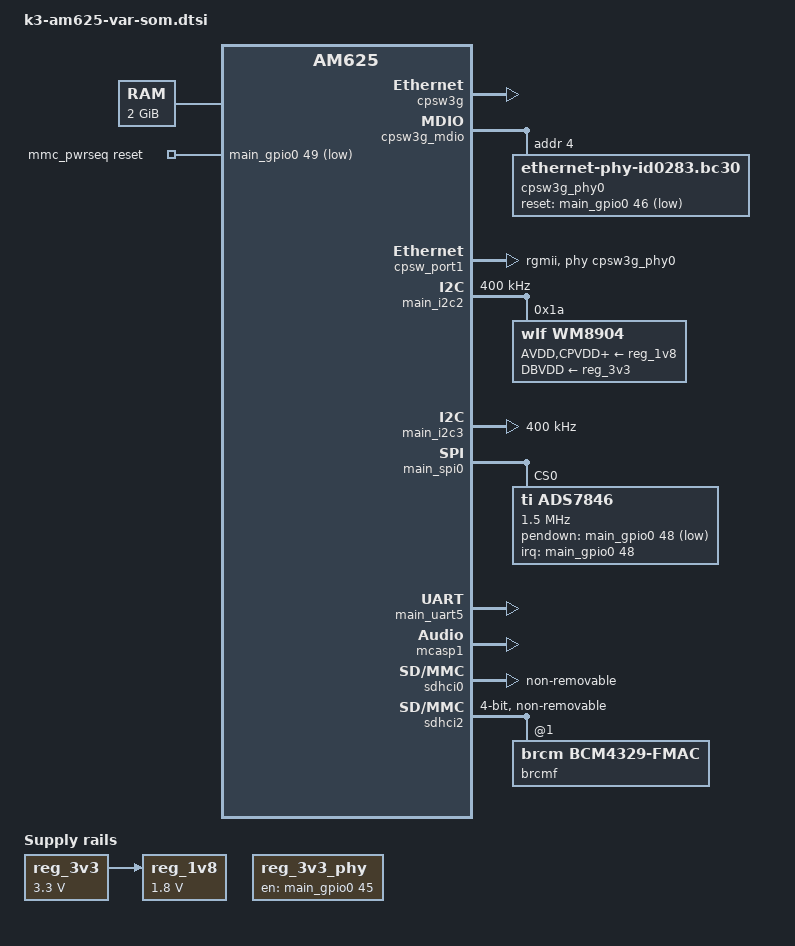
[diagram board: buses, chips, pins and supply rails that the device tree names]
// SPDX-License-Identifier: GPL-2.0
/*
 * Common dtsi for Variscite VAR-SOM-AM62
 *
 * Link: https://variscite.com/system-on-module-som/ti-sitara-am62x/var-som-am62/
 *
 * Copyright (C) 2026 Variscite Ltd. - https://www.variscite.com/
 * Copyright (C) 2026 Stefano Radaelli <stefano.r@variscite.com>
 *
 */

/dts-v1/;

#include <dt-bindings/gpio/gpio.h>
#include <dt-bindings/input/input.h>
#include <dt-bindings/interrupt-controller/arm-gic.h>
#include <dt-bindings/leds/common.h>
#include <dt-bindings/pwm/pwm.h>
#include "k3-am625.dtsi"

/ {
	compatible = "variscite,var-som-am62", "ti,am625";

	memory@80000000 {
		/* 2G RAM */
		reg = <0x00000000 0x80000000 0x00000000 0x80000000>;
		device_type = "memory";
		bootph-pre-ram;
	};

	mmc_pwrseq: mmc-pwrseq {
		compatible = "mmc-pwrseq-emmc";
		pinctrl-names = "default";
		pinctrl-0 = <&pinctrl_mmc_pwrseq>;
		reset-gpios = <&main_gpio0 49 GPIO_ACTIVE_LOW>;
	};

	opp-table {
		/* Add 1.4GHz OPP. Requires VDD_CORE to be at 0.85V */
		opp-1400000000 {
			opp-hz = /bits/ 64 <1400000000>;
			opp-supported-hw = <0x01 0x0004>;
			clock-latency-ns = <6000000>;
		};
	};

	reserved_memory: reserved-memory {
		#address-cells = <2>;
		#size-cells = <2>;
		ranges;

		ramoops@9ca00000 {
			compatible = "ramoops";
			reg = <0x00 0x9ca00000 0x00 0x00100000>;
			record-size = <0x8000>;
			console-size = <0x8000>;
			ftrace-size = <0x00>;
			pmsg-size = <0x8000>;
		};

		/* global cma region */
		linux,cma {
			compatible = "shared-dma-pool";
			reusable;
			size = <0x00 0x8000000>;
			linux,cma-default;
		};

		rtos_ipc_memory_region: rtos-ipc-memory@9b500000 {
			compatible = "shared-dma-pool";
			reg = <0x00 0x9b500000 0x00 0x00300000>;
			no-map;
		};

		wkup_r5fss0_core0_dma_memory_region: memory@9da00000 {
			compatible = "shared-dma-pool";
			reg = <0x00 0x9da00000 0x00 0x100000>;
			no-map;
		};

		wkup_r5fss0_core0_memory_region: memory@9db00000 {
			compatible = "shared-dma-pool";
			reg = <0x00 0x9db00000 0x00 0xc00000>;
			no-map;
		};

		secure_tfa_ddr: tfa@9e780000 {
			reg = <0x00 0x9e780000 0x00 0x80000>;
			alignment = <0x1000>;
			no-map;
		};

		secure_ddr: optee@9e800000 {
			reg = <0x00 0x9e800000 0x00 0x01800000>; /* for OP-TEE */
			alignment = <0x1000>;
			no-map;
		};
	};

	reg_1v8: regulator-1v8 {
		compatible = "regulator-fixed";
		regulator-name = "On-module +V1.8";
		regulator-min-microvolt = <1800000>;
		regulator-max-microvolt = <1800000>;
		vin-supply = <&reg_3v3>;
		regulator-always-on;
		regulator-boot-on;
	};

	reg_3v3: regulator-3v3 {
		compatible = "regulator-fixed";
		regulator-name = "On-module +V3.3";
		regulator-min-microvolt = <3300000>;
		regulator-max-microvolt = <3300000>;
		regulator-always-on;
		regulator-boot-on;
	};

	reg_3v3_phy: regulator-3v3-phy {
		compatible = "regulator-fixed";
		regulator-name = "On-module +V3.3_PHY";
		pinctrl-names = "default";
		pinctrl-0 = <&pinctrl_eth_phy>;
		gpios = <&main_gpio0 45 GPIO_ACTIVE_HIGH>;
		enable-active-high;
		regulator-always-on;
	};

	sound {
		compatible = "simple-audio-card";
		simple-audio-card,bitclock-master = <&codec_dai>;
		simple-audio-card,format = "dsp_b";
		simple-audio-card,frame-master = <&codec_dai>;
		simple-audio-card,name = "wm8904-audio";
		simple-audio-card,mclk-fs = <256>;
		simple-audio-card,routing =
			"Headphone Jack", "HPOUTL",
			"Headphone Jack", "HPOUTR",
			"IN2L", "Line In Jack",
			"IN2R", "Line In Jack",
			"IN1L", "Microphone Jack",
			"IN1R", "Microphone Jack";
		simple-audio-card,widgets =
			"Microphone", "Microphone Jack",
			"Headphone", "Headphone Jack",
			"Line", "Line In Jack";

		codec_dai: simple-audio-card,codec {
			sound-dai = <&wm8904>;
		};

		simple-audio-card,cpu {
			sound-dai = <&mcasp1>;
		};
	};
};

&audio_refclk1 {
	assigned-clock-rates = <12000000>;
};

&cpsw3g {
	pinctrl-names = "default";
	pinctrl-0 = <&pinctrl_rgmii1>;
	status = "okay";
};

&cpsw3g_mdio {
	pinctrl-names = "default";
	pinctrl-0 = <&pinctrl_mdio1>;
	status = "okay";

	cpsw3g_phy0: ethernet-phy@4 {
		compatible = "ethernet-phy-id0283.bc30";
		reg = <4>;
		bootph-all;
		reset-gpios = <&main_gpio0 46 GPIO_ACTIVE_LOW>;
		reset-assert-us = <10000>;
		reset-deassert-us = <20000>;
	};
};

&cpsw_port1 {
	/*
	 * The required RGMII TX and RX 2ns delays are implemented directly
	 * in hardware via passive delay elements on the SOM PCB.
	 * No delay configuration is needed in software via PHY driver.
	 */
	phy-mode = "rgmii";
	phy-handle = <&cpsw3g_phy0>;
	status = "okay";
};

&main_i2c2 {
	pinctrl-names = "default";
	pinctrl-0 = <&pinctrl_i2c2>;
	clock-frequency = <400000>;
	status = "okay";

	wm8904: audio-codec@1a {
		compatible = "wlf,wm8904";
		reg = <0x1a>;
		#sound-dai-cells = <0>;
		clocks = <&audio_refclk1>;
		clock-names = "mclk";
		AVDD-supply = <&reg_1v8>;
		CPVDD-supply = <&reg_1v8>;
		DBVDD-supply = <&reg_3v3>;
		DCVDD-supply = <&reg_1v8>;
		MICVDD-supply = <&reg_1v8>;
		wlf,drc-cfg-names = "default", "peaklimiter", "tradition",
				    "soft", "music";
		/*
		 * Config registers per name, respectively:
		 * KNEE_IP = 0,   KNEE_OP = 0,     HI_COMP = 1,   LO_COMP = 1
		 * KNEE_IP = -24, KNEE_OP = -6,    HI_COMP = 1/4, LO_COMP = 1
		 * KNEE_IP = -42, KNEE_OP = -3,    HI_COMP = 0,   LO_COMP = 1
		 * KNEE_IP = -45, KNEE_OP = -9,    HI_COMP = 1/8, LO_COMP = 1
		 * KNEE_IP = -30, KNEE_OP = -10.5, HI_COMP = 1/4, LO_COMP = 1
		 */
		wlf,drc-cfg-regs = /bits/ 16 <0x01af 0x3248 0x0000 0x0000>,
				   /bits/ 16 <0x04af 0x324b 0x0010 0x0408>,
				   /bits/ 16 <0x04af 0x324b 0x0028 0x0704>,
				   /bits/ 16 <0x04af 0x324b 0x0018 0x078c>,
				   /bits/ 16 <0x04af 0x324b 0x0010 0x050e>;
		/* GPIO1 = DMIC_CLK, don't touch others */
		wlf,gpio-cfg = <0x0018>, <0xffff>, <0xffff>, <0xffff>;
	};
};

&main_i2c3 {
	pinctrl-names = "default";
	pinctrl-0 = <&pinctrl_i2c3>;
	clock-frequency = <400000>;
	status = "okay";
};

&main_pmx0 {
	pinctrl_i2c2: main-i2c2-default-pins {
		pinctrl-single,pins = <
			AM62X_IOPAD(0x0b0, PIN_INPUT_PULLUP, 1) /* (K22) GPMC0_CSn2.I2C2_SCL */
			AM62X_IOPAD(0x0b4, PIN_INPUT_PULLUP, 1) /* (K24) GPMC0_CSn3.I2C2_SDA */
		>;
	};

	pinctrl_i2c3: main-i2c3-default-pins {
		pinctrl-single,pins = <
			AM62X_IOPAD(0x01d0, PIN_INPUT, 2) /* (A15) UART0_CTSn.I2C3_SCL */
			AM62X_IOPAD(0x01d4, PIN_INPUT, 2) /* (B15) UART0_RTSn.I2C3_SDA */
		>;
	};

	pinctrl_mcasp1: main-mcasp1-default-pins {
		pinctrl-single,pins = <
			AM62X_IOPAD(0x0090, PIN_INPUT, 2) /* (M24) GPMC0_BE0N_CLE.MCASP1_ACLKX */
			AM62X_IOPAD(0x0098, PIN_INPUT, 2) /* (U23) GPMC0_WAIT0.MCASP1_AFSX */
			AM62X_IOPAD(0x008c, PIN_OUTPUT, 2) /* (L25) GPMC0_WEN.MCASP1_AXR0 */
			AM62X_IOPAD(0x0084, PIN_INPUT, 2) /* (L23) GPMC0_ADVN_ALE.MCASP1_AXR2 */
			AM62X_IOPAD(0x00a0, PIN_OUTPUT, 1) /* (K25) GPMC0_WPn.AUDIO_EXT_REFCLK1 */
		>;
	};

	pinctrl_mdio1: main-mdio1-default-pins {
		pinctrl-single,pins = <
			AM62X_IOPAD(0x160, PIN_INPUT, 0) /* (AD24) MDIO0_MDC */
			AM62X_IOPAD(0x15c, PIN_INPUT, 0) /* (AB22) MDIO0_MDIO */
		>;
	};

	pinctrl_mmc_pwrseq: pinmux-mmc-pwrseq-pins {
		pinctrl-single,pins = <
			AM62X_IOPAD(0x00c8, PIN_OUTPUT, 7) /* (Y25) VOUT0_DATA4.GPIO0_49 */
		>;
	};

	pinctrl_mmc0: main-mmc0-default-pins {
		bootph-all;
		pinctrl-single,pins = <
			AM62X_IOPAD(0x220, PIN_INPUT, 0) /* (Y3) MMC0_CMD */
			AM62X_IOPAD(0x218, PIN_INPUT, 0) /* (AB1) MMC0_CLK */
			AM62X_IOPAD(0x214, PIN_INPUT, 0) /* (AA2) MMC0_DAT0 */
			AM62X_IOPAD(0x210, PIN_INPUT, 0) /* (AA1) MMC0_DAT1 */
			AM62X_IOPAD(0x20c, PIN_INPUT, 0) /* (AA3) MMC0_DAT2 */
			AM62X_IOPAD(0x208, PIN_INPUT, 0) /* (Y4) MMC0_DAT3 */
			AM62X_IOPAD(0x204, PIN_INPUT, 0) /* (AB2) MMC0_DAT4 */
			AM62X_IOPAD(0x200, PIN_INPUT, 0) /* (AC1) MMC0_DAT5 */
			AM62X_IOPAD(0x1fc, PIN_INPUT, 0) /* (AD2) MMC0_DAT6 */
			AM62X_IOPAD(0x1f8, PIN_INPUT, 0) /* (AC2) MMC0_DAT7 */
		>;
	};

	pinctrl_mmc2: main-mmc2-default-pins {
		pinctrl-single,pins = <
			AM62X_IOPAD(0x120, PIN_INPUT_PULLUP, 0) /* (C24) MMC2_CMD */
			AM62X_IOPAD(0x118, PIN_INPUT_PULLDOWN, 0) /* (D25) MMC2_CLK */
			AM62X_IOPAD(0x114, PIN_INPUT_PULLUP, 0) /* (B24) MMC2_DAT0 */
			AM62X_IOPAD(0x110, PIN_INPUT_PULLUP, 0) /* (C25) MMC2_DAT1 */
			AM62X_IOPAD(0x10c, PIN_INPUT_PULLUP, 0) /* (E23) MMC2_DAT2 */
			AM62X_IOPAD(0x108, PIN_INPUT_PULLUP, 0) /* (D24) MMC2_DAT3 */
			AM62X_IOPAD(0x11c, PIN_INPUT_PULLUP, 0) /* (#N/A) MMC2_CLKB */
		>;
	};

	pinctrl_restouch: main-restouch-pins {
		pinctrl-single,pins = <
			AM62X_IOPAD(0x00c4, PIN_INPUT_PULLUP, 7) /* (W24) VOUT0_DATA3.GPIO0_48 */
		>;
	};

	pinctrl_rgmii1: main-rgmii1-default-pins {
		bootph-all;
		pinctrl-single,pins = <
			AM62X_IOPAD(0x14c, PIN_INPUT, 0) /* (AB17) RGMII1_RD0 */
			AM62X_IOPAD(0x150, PIN_INPUT, 0) /* (AC17) RGMII1_RD1 */
			AM62X_IOPAD(0x154, PIN_INPUT, 0) /* (AB16) RGMII1_RD2 */
			AM62X_IOPAD(0x158, PIN_INPUT, 0) /* (AA15) RGMII1_RD3 */
			AM62X_IOPAD(0x148, PIN_INPUT, 0) /* (AD17) RGMII1_RXC */
			AM62X_IOPAD(0x144, PIN_INPUT, 0) /* (AE17) RGMII1_RX_CTL */
			AM62X_IOPAD(0x134, PIN_INPUT, 0) /* (AE20) RGMII1_TD0 */
			AM62X_IOPAD(0x138, PIN_INPUT, 0) /* (AD20) RGMII1_TD1 */
			AM62X_IOPAD(0x13c, PIN_INPUT, 0) /* (AE18) RGMII1_TD2 */
			AM62X_IOPAD(0x140, PIN_INPUT, 0) /* (AD18) RGMII1_TD3 */
			AM62X_IOPAD(0x130, PIN_INPUT, 0) /* (AE19) RGMII1_TXC */
			AM62X_IOPAD(0x12c, PIN_INPUT, 0) /* (AD19) RGMII1_TX_CTL */
			AM62X_IOPAD(0x00bc, PIN_INPUT, 7) /* (V24) VOUT0_DATA1.GPIO0_46 */
		>;
	};

	pinctrl_eth_phy: main-eth-phy-default-pins {
		pinctrl-single,pins = <
			AM62X_IOPAD(0x00b8, PIN_INPUT, 7) /* (U22) VOUT0_DATA0.GPIO0_45 */
		>;
	};

	pinctrl_spi0: main-spi0-default-pins {
		pinctrl-single,pins = <
			AM62X_IOPAD(0x01bc, PIN_OUTPUT, 0) /* (A14) SPI0_CLK */
			AM62X_IOPAD(0x01b4, PIN_OUTPUT, 0) /* (A13) SPI0_CS0 */
			AM62X_IOPAD(0x01c0, PIN_OUTPUT, 0) /* (B13) SPI0_D0 */
			AM62X_IOPAD(0x01c4, PIN_INPUT, 0) /* (B14) SPI0_D1 */
		>;
	};

	pinctrl_uart5: main-uart5-default-pins {
		pinctrl-single,pins = <
			AM62X_IOPAD(0x00ec, PIN_INPUT, 4) /* (AA24) VOUT0_DATA13.UART5_CTSn */
			AM62X_IOPAD(0x00e8, PIN_OUTPUT, 4) /* (AB25) VOUT0_DATA12.UART5_RTSn */
			AM62X_IOPAD(0x00d0, PIN_INPUT, 4) /* (Y23) VOUT0_DATA6.UART5_RXD */
			AM62X_IOPAD(0x00d4, PIN_OUTPUT, 4) /* (AA25) VOUT0_DATA7.UART5_TXD */
		>;
	};
};

&mcu_pmx0 {
	pinctrl_wkup_clkout0: wkup-clkout0-default-pins {
		pinctrl-single,pins = <
			AM62X_MCU_IOPAD(0x0084, PIN_OUTPUT, 0) /* (F13) WKUP_CLKOUT0 */
		>;
	};
};

&main_spi0 {
	pinctrl-names = "default";
	pinctrl-0 = <&pinctrl_spi0>;
	ti,pindir-d0-out-d1-in;
	status = "okay";

	/* Resistive touch controller */
	ads7846: touchscreen@0 {
		compatible = "ti,ads7846";
		reg = <0>;
		pinctrl-names = "default";
		pinctrl-0 = <&pinctrl_restouch>;
		interrupt-parent = <&main_gpio0>;
		interrupts = <48 IRQ_TYPE_EDGE_FALLING>;
		spi-max-frequency = <1500000>;
		pendown-gpio = <&main_gpio0 48 GPIO_ACTIVE_LOW>;
		ti,x-min = /bits/ 16 <125>;
		ti,x-max = /bits/ 16 <4008>;
		ti,y-min = /bits/ 16 <282>;
		ti,y-max = /bits/ 16 <3864>;
		ti,x-plate-ohms = /bits/ 16 <180>;
		ti,pressure-max = /bits/ 16 <255>;
		ti,debounce-max = /bits/ 16 <10>;
		ti,debounce-tol = /bits/ 16 <3>;
		ti,debounce-rep = /bits/ 16 <1>;
		ti,settle-delay-usec = /bits/ 16 <150>;
		ti,keep-vref-on;
		wakeup-source;
	};
};

/* On-module Bluetooth */
&main_uart5 {
	pinctrl-names = "default";
	pinctrl-0 = <&pinctrl_uart5>;
	uart-has-rtscts;
	status = "okay";
};

&mcasp1 {
	pinctrl-names = "default";
	pinctrl-0 = <&pinctrl_mcasp1>;
	op-mode = <0>;  /* MCASP_IIS_MODE */
	serial-dir = <  /* 0: INACTIVE, 1: TX, 2: RX */
		1 0 2 0
		0 0 0 0
		0 0 0 0
		0 0 0 0
	>;
	tdm-slots = <2>;
	#sound-dai-cells = <0>;
	status = "okay";
};

/* On-module eMMC */
&sdhci0 {
	pinctrl-names = "default";
	pinctrl-0 = <&pinctrl_mmc0>;
	bootph-all;
	disable-wp;
	mmc-pwrseq = <&mmc_pwrseq>;
	non-removable;
	status="okay";
};

/* On-module Wi-Fi */
&sdhci2 {
	pinctrl-names = "default";
	pinctrl-0 = <&pinctrl_mmc2>, <&pinctrl_wkup_clkout0>;
	#address-cells = <1>;
	#size-cells = <0>;
	assigned-clocks = <&k3_clks 157 158>; /* wkup_clkout_sel_out0 */
	assigned-clock-parents = <&k3_clks 157 164>; /* clk_32k_rc_sel_out0 */
	bus-width = <4>;
	disable-wp;
	non-removable;
	cap-power-off-card;
	status = "okay";

	brcmf: wifi@1 {
		compatible = "brcm,bcm4329-fmac";
		reg = <1>;
	};
};

&usbss0 {
	ti,vbus-divider;
};

&usbss1 {
	ti,vbus-divider;
};

/* mcu_gpio0 and mcu_gpio_intr are reserved for mcu firmware usage */
&mcu_gpio0 {
	status = "reserved";
};

&mcu_gpio_intr {
	status = "reserved";
};

&wkup_rtc0 {
	status = "disabled";
};

&wkup_rti0 {
	/* WKUP RTI0 is used by DM firmware */
	status = "reserved";
};

&wkup_uart0 {
	/* WKUP UART0 is used by DM firmware */
	status = "reserved";
};

&main_uart1 {
	/* Main UART1 is used by TIFS firmware */
	status = "reserved";
};

#include "k3-am62-ti-ipc-firmware.dtsi"
